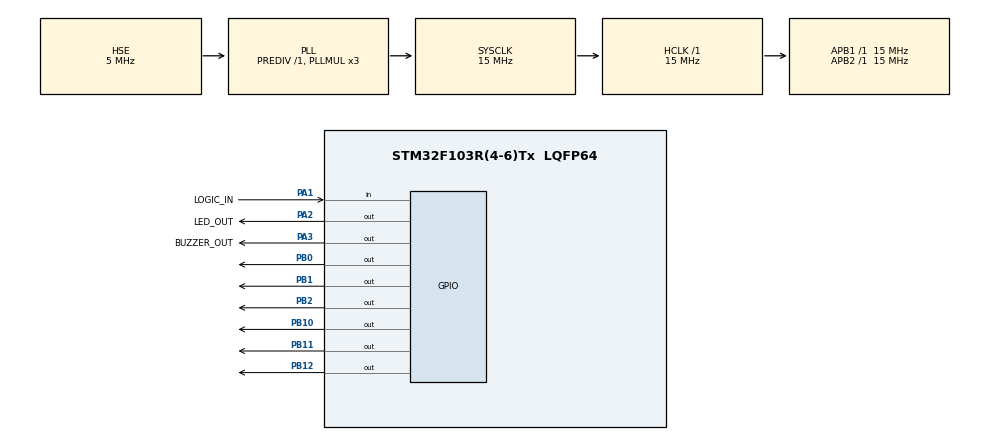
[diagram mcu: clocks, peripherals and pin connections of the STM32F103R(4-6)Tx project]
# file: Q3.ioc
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Mcu.Family=STM32F1
Mcu.Name=STM32F103R(4-6)Tx
Mcu.Package=LQFP64
NVIC.PriorityGroup=NVIC_PRIORITYGROUP_4
NVIC.TIM2_IRQn=true\:0\:0\:false\:false\:true\:true\:true\:true
PA1.GPIO_Label=LOGIC_IN
PA1.Signal=GPIO_Input
PA2.GPIO_Label=LED_OUT
PA2.Signal=GPIO_Output
PA3.GPIO_Label=BUZZER_OUT
PA3.Signal=GPIO_Output
PB0.Signal=GPIO_Output
PB1.Signal=GPIO_Output
PB10.Signal=GPIO_Output
PB11.Signal=GPIO_Output
PB12.Signal=GPIO_Output
PB2.Signal=GPIO_Output
PD0-OSC_IN.Mode=HSE-External-Oscillator
PD0-OSC_IN.Signal=RCC_OSC_IN
PD1-OSC_OUT.Mode=HSE-External-Oscillator
PD1-OSC_OUT.Signal=RCC_OSC_OUT
ProjectManager.HeapSize=0x200
ProjectManager.StackSize=0x400
ProjectManager.TargetToolchain=STM32CubeIDE
RCC.AHBFreq_Value=15000000
RCC.APB1Freq_Value=15000000
RCC.APB1TimFreq_Value=15000000
RCC.APB2Freq_Value=15000000
RCC.APB2TimFreq_Value=15000000
RCC.HCLKFreq_Value=15000000
RCC.HSE_VALUE=5000000
RCC.PLLMUL=RCC_PLL_MUL3
RCC.PLLSourceVirtual=RCC_PLLSOURCE_HSE
RCC.SYSCLKFreq_VALUE=15000000
RCC.SYSCLKSource=RCC_SYSCLKSOURCE_PLLCLK
RCC.USBFreq_Value=15000000
TIM2.Period=999
TIM2.Prescaler=14999
VP_SYS_VS_ND.Mode=No_Debug
VP_TIM2_VS_ClockSourceINT.Mode=Internal
board=custom

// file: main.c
/* USER CODE BEGIN Header */
/**
  ******************************************************************************
  * @file           : main.c
  * @brief          : Main program body
  ******************************************************************************
  * @attention
  *
  * Copyright (c) 2026 STMicroelectronics.
  * All rights reserved.
  *
  * This software is licensed under terms that can be found in the LICENSE file
  * in the root directory of this software component.
  * If no LICENSE file comes with this software, it is provided AS-IS.
  *
  ******************************************************************************
  */
/* USER CODE END Header */
#include "main.h"

/* USER CODE BEGIN Includes */
#include <stdio.h>
#include "lcd.h"
/* USER CODE END Includes */

TIM_HandleTypeDef htim2;

/* USER CODE BEGIN PV */
Lcd_PortType port[] = {GPIOB, GPIOB, GPIOB, GPIOB};
Lcd_PinType pin[] = {GPIO_PIN_0, GPIO_PIN_1, GPIO_PIN_2, GPIO_PIN_10};
Lcd_PortType rs_port = GPIOB;
Lcd_PinType rs_pin = GPIO_PIN_11;
Lcd_PortType e_port = GPIOB;
Lcd_PinType e_pin = GPIO_PIN_12;

Lcd_HandleTypeDef lcd;

int8_t countdown_timer = 15;
uint8_t system_running = 0;
/* USER CODE END PV */

void SystemClock_Config(void);
static void MX_GPIO_Init(void);
static void MX_TIM2_Init(void);

int main(void)
{

  /* MCU Configuration--------------------------------------------------------*/

  /* Reset of all peripherals, Initializes the Flash interface and the Systick. */
  HAL_Init();

  /* Configure the system clock */
  SystemClock_Config();

  /* Initialize all configured peripherals */
  MX_GPIO_Init();
  MX_TIM2_Init();
  /* USER CODE BEGIN 2 */
  lcd = Lcd_create(port, pin, rs_port, rs_pin, e_port, e_pin, LCD_4_BIT_MODE);
    Lcd_init(&lcd);

    Lcd_cursor(&lcd, 0, 0);
    Lcd_string(&lcd, "WE ARE READY");

    HAL_TIM_Base_Start_IT(&htim2);
  /* USER CODE END 2 */

    /* Infinite loop */
      while (1)
      {

        /* USER CODE BEGIN 3 */
    	  if (HAL_GPIO_ReadPin(GPIOA, GPIO_PIN_1) == GPIO_PIN_RESET)
    	  {
    		  system_running = 0;
    		  countdown_timer = 15;

    		  HAL_GPIO_WritePin(GPIOA, GPIO_PIN_2, GPIO_PIN_RESET);
    		  HAL_GPIO_WritePin(GPIOA, GPIO_PIN_3, GPIO_PIN_RESET);

    		  Lcd_cursor(&lcd, 0, 0);
    		  Lcd_string(&lcd, "mode: reset");
    		  Lcd_cursor(&lcd, 1, 0);
    		  Lcd_string(&lcd, "time: 15s");
    	  }
    	  else
    	      {
    	      		  system_running = 1;
    	      		  if (countdown_timer == 0)
    	      		  {
    	      			  HAL_GPIO_WritePin(GPIOA, LED_OUT_Pin, GPIO_PIN_SET);
    	      			  HAL_GPIO_WritePin(GPIOA, BUZZER_OUT_Pin, GPIO_PIN_SET);

    	      			  Lcd_cursor(&lcd, 0, 0);
    	      			  Lcd_string(&lcd, "counting is done :D");
    	      		  }
    	      		  else
    	      		  {
    	      			  Lcd_cursor(&lcd, 0, 0);
    	      			  Lcd_string(&lcd, "mode: counting");
    	      		  }

    	      		  // چاپ ثانیه‌شمار معکوس در هر دو حالت
    	      		  char display_string[20];
    	      		  sprintf(display_string, "time: %02d sec", countdown_timer);
    	      		  Lcd_cursor(&lcd, 1, 0);
    	      		  Lcd_string(&lcd, display_string);
    	      }
    	  HAL_Delay(50);
    }
      /* USER CODE END 3 */
}

void SystemClock_Config(void)
{
  RCC_OscInitTypeDef RCC_OscInitStruct = {0};
  RCC_ClkInitTypeDef RCC_ClkInitStruct = {0};

  /** Initializes the RCC Oscillators according to the specified parameters
  * in the RCC_OscInitTypeDef structure.
  */
  RCC_OscInitStruct.OscillatorType = RCC_OSCILLATORTYPE_HSE;
  RCC_OscInitStruct.HSEState = RCC_HSE_ON;
  RCC_OscInitStruct.HSEPredivValue = RCC_HSE_PREDIV_DIV1;
  RCC_OscInitStruct.HSIState = RCC_HSI_ON;
  RCC_OscInitStruct.PLL.PLLState = RCC_PLL_ON;
  RCC_OscInitStruct.PLL.PLLSource = RCC_PLLSOURCE_HSE;
  RCC_OscInitStruct.PLL.PLLMUL = RCC_PLL_MUL3;
  if (HAL_RCC_OscConfig(&RCC_OscInitStruct) != HAL_OK)
  {
    Error_Handler();
  }

  /** Initializes the CPU, AHB and APB buses clocks
  */
  RCC_ClkInitStruct.ClockType = RCC_CLOCKTYPE_HCLK|RCC_CLOCKTYPE_SYSCLK
                              |RCC_CLOCKTYPE_PCLK1|RCC_CLOCKTYPE_PCLK2;
  RCC_ClkInitStruct.SYSCLKSource = RCC_SYSCLKSOURCE_PLLCLK;
  RCC_ClkInitStruct.AHBCLKDivider = RCC_SYSCLK_DIV1;
  RCC_ClkInitStruct.APB1CLKDivider = RCC_HCLK_DIV1;
  RCC_ClkInitStruct.APB2CLKDivider = RCC_HCLK_DIV1;

  if (HAL_RCC_ClockConfig(&RCC_ClkInitStruct, FLASH_LATENCY_0) != HAL_OK)
  {
    Error_Handler();
  }
}

static void MX_TIM2_Init(void)
{

  TIM_ClockConfigTypeDef sClockSourceConfig = {0};
  TIM_MasterConfigTypeDef sMasterConfig = {0};

  htim2.Instance = TIM2;
  htim2.Init.Prescaler = 14999;
  htim2.Init.CounterMode = TIM_COUNTERMODE_UP;
  htim2.Init.Period = 999;
  htim2.Init.ClockDivision = TIM_CLOCKDIVISION_DIV1;
  htim2.Init.AutoReloadPreload = TIM_AUTORELOAD_PRELOAD_DISABLE;
  if (HAL_TIM_Base_Init(&htim2) != HAL_OK)
  {
    Error_Handler();
  }
  sClockSourceConfig.ClockSource = TIM_CLOCKSOURCE_INTERNAL;
  if (HAL_TIM_ConfigClockSource(&htim2, &sClockSourceConfig) != HAL_OK)
  {
    Error_Handler();
  }
  sMasterConfig.MasterOutputTrigger = TIM_TRGO_RESET;
  sMasterConfig.MasterSlaveMode = TIM_MASTERSLAVEMODE_DISABLE;
  if (HAL_TIMEx_MasterConfigSynchronization(&htim2, &sMasterConfig) != HAL_OK)
  {
    Error_Handler();
  }

}

static void MX_GPIO_Init(void)
{
  GPIO_InitTypeDef GPIO_InitStruct = {0};

  /* GPIO Ports Clock Enable */
  __HAL_RCC_GPIOD_CLK_ENABLE();
  __HAL_RCC_GPIOA_CLK_ENABLE();
  __HAL_RCC_GPIOB_CLK_ENABLE();

  /*Configure GPIO pin Output Level */
  HAL_GPIO_WritePin(GPIOA, LED_OUT_Pin|BUZZER_OUT_Pin, GPIO_PIN_RESET);

  /*Configure GPIO pin Output Level */
  HAL_GPIO_WritePin(GPIOB, GPIO_PIN_0|GPIO_PIN_1|GPIO_PIN_2|GPIO_PIN_10
                          |GPIO_PIN_11|GPIO_PIN_12, GPIO_PIN_RESET);

  /*Configure GPIO pin : LOGIC_IN_Pin */
  GPIO_InitStruct.Pin = LOGIC_IN_Pin;
  GPIO_InitStruct.Mode = GPIO_MODE_INPUT;
  GPIO_InitStruct.Pull = GPIO_NOPULL;
  HAL_GPIO_Init(LOGIC_IN_GPIO_Port, &GPIO_InitStruct);

  /*Configure GPIO pins : LED_OUT_Pin BUZZER_OUT_Pin */
  GPIO_InitStruct.Pin = LED_OUT_Pin|BUZZER_OUT_Pin;
  GPIO_InitStruct.Mode = GPIO_MODE_OUTPUT_PP;
  GPIO_InitStruct.Pull = GPIO_NOPULL;
  GPIO_InitStruct.Speed = GPIO_SPEED_FREQ_LOW;
  HAL_GPIO_Init(GPIOA, &GPIO_InitStruct);

  /*Configure GPIO pins : PB0 PB1 PB2 PB10
                           PB11 PB12 */
  GPIO_InitStruct.Pin = GPIO_PIN_0|GPIO_PIN_1|GPIO_PIN_2|GPIO_PIN_10
                          |GPIO_PIN_11|GPIO_PIN_12;
  GPIO_InitStruct.Mode = GPIO_MODE_OUTPUT_PP;
  GPIO_InitStruct.Pull = GPIO_NOPULL;
  GPIO_InitStruct.Speed = GPIO_SPEED_FREQ_LOW;
  HAL_GPIO_Init(GPIOB, &GPIO_InitStruct);

}

/* USER CODE BEGIN 4 */
void HAL_TIM_PeriodElapsedCallback(TIM_HandleTypeDef *htim)
{
    if (htim->Instance == TIM2)
    {
        if (system_running == 1 && countdown_timer > 0)
        {
            countdown_timer--;
            HAL_GPIO_TogglePin(GPIOA, LED_OUT_Pin);
            HAL_GPIO_TogglePin(GPIOA, BUZZER_OUT_Pin);
        }
    }
}
/* USER CODE END 4 */

void Error_Handler(void)
{
  __disable_irq();
  while (1)
  {
  }
}
